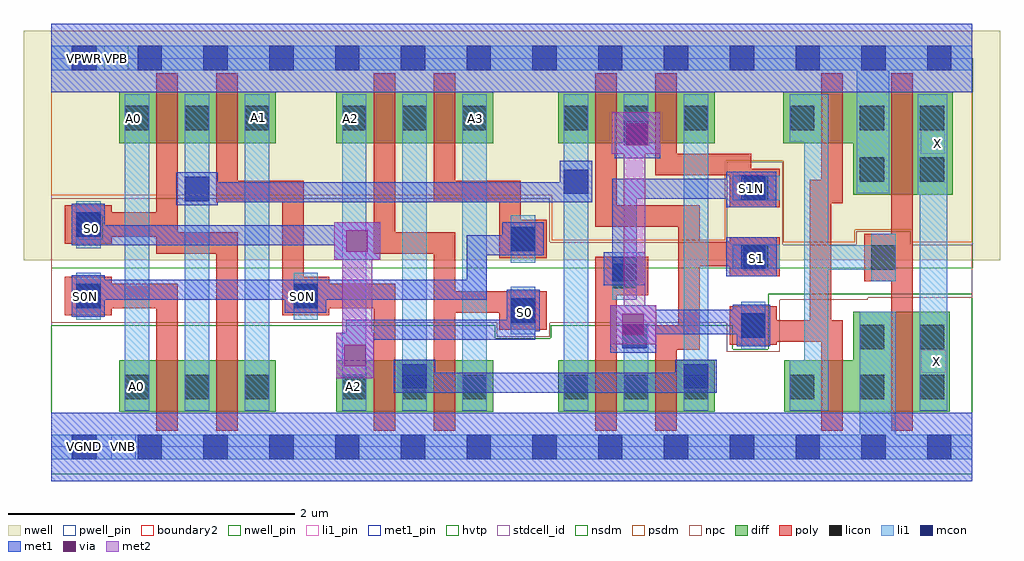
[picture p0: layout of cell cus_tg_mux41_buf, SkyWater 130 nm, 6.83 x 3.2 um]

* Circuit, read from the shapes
.subckt cus_tg_mux41_buf A0 A1 A2 A3 S0 S0N S1 S1N VGND VNB VPB VPWR X
XM1 n1 S0N A0 VNB sky130_fd_pr__nfet_01v8 w=0.36 l=0.15
XM2 A1 S0 n1 VNB sky130_fd_pr__nfet_01v8 w=0.36 l=0.15
XM3 n2 S0N A2 VNB sky130_fd_pr__nfet_01v8 w=0.36 l=0.15
XM4 A3 S0 n2 VNB sky130_fd_pr__nfet_01v8 w=0.36 l=0.15
XM5 n3 S1N n1 VNB sky130_fd_pr__nfet_01v8 w=0.36 l=0.15
XM6 n2 S1 n3 VNB sky130_fd_pr__nfet_01v8 w=0.36 l=0.15
XM7 VGND n3 n4 VNB sky130_fd_pr__nfet_01v8 w=0.36 l=0.15
XM8 X n4 VGND VNB sky130_fd_pr__nfet_01v8 w=0.7 l=0.15
XM9 n1 S0 A0 VPB sky130_fd_pr__pfet_01v8_hvt w=0.36 l=0.15
XM10 A1 S0N n1 VPB sky130_fd_pr__pfet_01v8_hvt w=0.36 l=0.15
XM11 n2 S0 A2 VPB sky130_fd_pr__pfet_01v8_hvt w=0.36 l=0.15
XM12 A3 S0N n2 VPB sky130_fd_pr__pfet_01v8_hvt w=0.36 l=0.15
XM13 n3 S1 n1 VPB sky130_fd_pr__pfet_01v8_hvt w=0.36 l=0.15
XM14 n2 S1N n3 VPB sky130_fd_pr__pfet_01v8_hvt w=0.36 l=0.15
XM15 VPWR n3 n4 VPB sky130_fd_pr__pfet_01v8_hvt w=0.36 l=0.15
XM16 X n4 VPWR VPB sky130_fd_pr__pfet_01v8_hvt w=0.72 l=0.15
.ends

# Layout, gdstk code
import gdstk
lib = gdstk.Library(unit=1e-6, precision=1e-09)
def R(c, l, rs):  # rectangles x0, y0, x1, y1
    for r in rs: c.add(gdstk.rectangle(r[:2], r[2:], *l))
def A(c, l, x, y, w, h, nx, ny, dx, dy):  # array of equal rectangles
    R(c, l, [(x+i*dx, y+j*dy, x+i*dx+w, y+j*dy+h) for i in range(nx) for j in range(ny)])
def P(c, l, *ps):  # polygons
    for p in ps: c.add(gdstk.Polygon(p, *l))
nwell_pin = (64, 16)
nwell = (64, 20)
diff = (65, 20)
poly = (66, 20)
licon = (66, 44)
li1_pin = (67, 16)
li1 = (67, 20)
mcon = (67, 44)
met1_pin = (68, 16)
met1 = (68, 20)
via = (68, 44)
met2 = (69, 20)
hvtp = (78, 44)
stdcell_id = (81, 4)
nsdm = (93, 44)
psdm = (94, 20)
npc = (95, 20)
pwell_pin = (122, 16)
boundary2 = (236, 0)

cus_tg_mux41_buf = lib.new_cell('cus_tg_mux41_buf')
R(cus_tg_mux41_buf, nwell_pin, [(0.37,2.635,0.54,2.805)])
R(cus_tg_mux41_buf, nwell, [(-0.19,1.305,6.635,2.91)])
R(cus_tg_mux41_buf, diff, [(0.475,0.245,1.57,0.605), (1.995,0.245,3.09,0.605), (3.545,0.245,4.64,0.605), (0.475,2.125,1.57,2.485), (1.995,2.125,3.09,2.485), (3.545,2.125,4.64,2.485)])
P(cus_tg_mux41_buf, diff, [(5.61,1.765),(5.61,2.125),(5.12,2.125),(5.12,2.485),(6.305,2.485),(6.305,1.765)],
  [(5.125,0.245),(5.125,0.605),(5.61,0.605),(5.61,0.945),(6.285,0.945),(6.285,0.245)])
P(cus_tg_mux41_buf, poly, [(2.675,0.115),(2.675,1.35),(2.255,1.35),(2.255,2.615),(2.405,2.615),(2.405,1.5),(2.825,1.5),(2.825,1.09),(3.465,1.09),(3.465,0.82),(3.135,0.82),(3.135,0.94),(2.825,0.94),(2.825,0.115)],
  [(3.135,1.32),(3.135,1.71),(2.675,1.71),(2.675,2.615),(2.825,2.615),(2.825,1.86),(3.285,1.86),(3.285,1.59),(3.465,1.59),(3.465,1.32)],
  [(4.745,1.675),(4.745,1.9),(4.225,1.9),(4.225,2.615),(4.375,2.615),(4.375,2.05),(4.895,2.05),(4.895,1.945),(5.095,1.945),(5.095,1.675)],
  [(4.225,0.115),(4.225,0.85),(4.385,0.85),(4.385,1.54),(3.805,1.54),(3.805,2.615),(3.955,2.615),(3.955,1.69),(4.535,1.69),(4.535,1.435),(4.745,1.435),(4.745,1.465),(5.095,1.465),(5.095,1.195),(4.745,1.195),(4.745,1.265),(4.535,1.265),(4.535,0.68),(4.375,0.68),(4.375,0.115)],
  [(5.385,0.115),(5.385,0.735),(5.075,0.735),(5.075,0.715),(4.745,0.715),(4.745,0.985),(5.075,0.985),(5.075,0.885),(5.305,0.885),(5.305,1.87),(5.385,1.87),(5.385,2.615),(5.535,2.615),(5.535,1.705),(5.455,1.705),(5.455,0.885),(5.535,0.885),(5.535,0.115)],
  [(5.875,0.115),(5.875,1.16),(5.685,1.16),(5.685,1.49),(5.875,1.49),(5.875,2.615),(6.025,2.615),(6.025,0.115)],
  [(3.805,0.115),(3.805,1.33),(4.175,1.33),(4.175,1.06),(3.955,1.06),(3.955,0.115)],
  [(2.255,0.115),(2.255,0.97),(1.945,0.97),(1.945,0.92),(1.615,0.92),(1.615,1.71),(1.155,1.71),(1.155,2.615),(1.305,2.615),(1.305,1.86),(1.765,1.86),(1.765,1.19),(1.945,1.19),(1.945,1.14),(2.405,1.14),(2.405,0.115)],
  [(1.155,0.115),(1.155,1.35),(0.735,1.35),(0.735,1.47),(0.425,1.47),(0.425,1.42),(0.095,1.42),(0.095,1.69),(0.425,1.69),(0.425,1.64),(0.735,1.64),(0.735,2.615),(0.885,2.615),(0.885,1.5),(1.305,1.5),(1.305,0.115)],
  [(0.735,0.115),(0.735,0.97),(0.425,0.97),(0.425,0.92),(0.095,0.92),(0.095,1.19),(0.425,1.19),(0.425,1.14),(0.885,1.14),(0.885,0.115)])
A(cus_tg_mux41_buf, licon, 0.515, 0.335, 0.17, 0.17, 3, 2, 0.42, 1.88)
A(cus_tg_mux41_buf, licon, 2.035, 0.335, 0.17, 0.17, 3, 2, 0.42, 1.88)
A(cus_tg_mux41_buf, licon, 3.585, 0.335, 0.17, 0.17, 3, 2, 0.42, 1.88)
R(cus_tg_mux41_buf, licon, [(5.165,0.335,5.335,0.505), (5.655,0.335,5.825,0.505), (6.075,0.335,6.245,0.505), (5.655,0.685,5.825,0.855), (6.075,0.685,6.245,0.855), (4.825,0.765,4.995,0.935), (3.215,0.87,3.385,1.04), (0.175,0.97,0.345,1.14), (1.695,0.97,1.865,1.14), (3.925,1.11,4.095,1.28), (5.735,1.24,5.905,1.41), (4.845,1.245,5.015,1.415), (3.215,1.37,3.385,1.54), (0.175,1.47,0.345,1.64), (4.845,1.725,5.015,1.895), (5.655,1.855,5.825,2.025), (6.075,1.855,6.245,2.025), (5.165,2.215,5.335,2.385), (5.655,2.215,5.825,2.385), (6.075,2.215,6.245,2.385)])
R(cus_tg_mux41_buf, li1_pin, [(0.515,0.335,0.685,0.505), (2.035,0.335,2.205,0.505), (6.085,0.52,6.255,0.68), (6.08,2.05,6.25,2.21), (2.875,2.21,3.045,2.38), (0.515,2.215,0.685,2.39), (1.355,2.215,1.525,2.385), (2.035,2.215,2.205,2.385)])
A(cus_tg_mux41_buf, li1, 0.515, 0.255, 0.17, 2.21, 3, 1, 0.42, 0)
A(cus_tg_mux41_buf, li1, 2.035, 0.255, 0.17, 2.21, 3, 1, 0.42, 0)
R(cus_tg_mux41_buf, li1, [(3.585,0.255,3.755,2.465), (4.425,0.255,4.595,2.465), (4.825,0.685,4.995,1.015), (3.215,0.79,3.385,1.12), (0.175,0.89,0.345,1.22), (1.695,0.89,1.865,1.22), (3.925,1.03,4.095,1.36), (4.765,1.245,5.095,1.415), (3.215,1.29,3.385,1.62), (0.175,1.39,0.345,1.72), (4.765,1.725,5.095,1.895), (4.005,2.11,4.175,2.465)])
P(cus_tg_mux41_buf, li1, [(4.005,0.255),(4.005,0.69),(3.995,0.69),(3.995,0.86),(4.175,0.86),(4.175,0.255)],
  [(5.165,0.255),(5.165,0.605),(5.265,0.605),(5.265,2.135),(5.165,2.135),(5.165,2.465),(5.435,2.465),(5.435,1.41),(5.735,1.41),(5.735,1.49),(5.905,1.49),(5.905,1.16),(5.735,1.16),(5.735,1.24),(5.435,1.24),(5.435,0.255)],
  [(0,-0.085),(0,0.085),(5.655,0.085),(5.655,0.945),(5.905,0.945),(5.905,0.085),(6.44,0.085),(6.44,-0.085)],
  [(5.635,1.775),(5.635,2.635),(0,2.635),(0,2.805),(6.44,2.805),(6.44,2.635),(5.86,2.635),(5.86,1.775)],
  [(6.075,0.255),(6.075,1.765),(6.06,1.765),(6.06,2.465),(6.265,2.465),(6.265,0.255)])
A(cus_tg_mux41_buf, mcon, 0.145, -0.085, 0.17, 0.17, 14, 2, 0.46, 2.72)
A(cus_tg_mux41_buf, mcon, 4.825, 0.765, 0.17, 0.17, 1, 3, 0, 0.48)
R(cus_tg_mux41_buf, mcon, [(2.455,0.41,2.625,0.58), (4.425,0.41,4.595,0.58), (3.995,0.69,4.165,0.86), (3.215,0.87,3.385,1.04), (0.175,0.97,0.345,1.14), (1.695,0.97,1.865,1.14), (3.925,1.16,4.095,1.33), (3.215,1.37,3.385,1.54), (0.175,1.47,0.345,1.64), (0.935,1.72,1.105,1.89), (3.585,1.77,3.755,1.94), (4.005,2.11,4.175,2.28)])
R(cus_tg_mux41_buf, met1_pin, [(0.15,-0.085,0.32,0.085), (3.22,0.86,3.39,1.035), (0.175,0.965,0.345,1.145), (1.695,0.965,1.865,1.145), (4.84,1.235,5.01,1.41), (0.19,1.45,0.36,1.625), (4.81,1.73,4.98,1.905), (0.15,2.635,0.32,2.805)])
R(cus_tg_mux41_buf, met1, [(0,-0.24,6.44,0.24), (4.72,1.195,5.075,1.465), (3.94,2.02,4.26,2.34), (0,2.48,6.44,2.96)])
P(cus_tg_mux41_buf, met1, [(3.91,0.66),(3.91,0.99),(4.23,0.99),(4.23,0.96),(4.765,0.96),(4.765,0.995),(5.03,0.995),(5.03,0.705),(4.795,0.705),(4.795,0.79),(4.23,0.79),(4.23,0.66)],
  [(2.395,0.38),(2.395,0.61),(2.685,0.61),(2.685,0.52),(4.365,0.52),(4.365,0.61),(4.655,0.61),(4.655,0.38)],
  [(1.98,1.31),(1.98,1.41),(0.145,1.41),(0.145,1.7),(0.375,1.7),(0.375,1.55),(1.98,1.55),(1.98,1.57),(2.3,1.57),(2.3,1.31)],
  [(0.875,1.69),(0.875,1.92),(1.165,1.92),(1.165,1.85),(3.555,1.85),(3.555,2),(3.785,2),(3.785,1.71),(1.165,1.71),(1.165,1.69)],
  [(0.145,0.91),(0.145,1.2),(0.375,1.2),(0.375,1.17),(2.905,1.17),(2.905,1.48),(3.155,1.48),(3.155,1.57),(3.445,1.57),(3.445,1.34),(3.045,1.34),(3.045,1.03),(1.925,1.03),(1.925,0.94),(1.635,0.94),(1.635,1.03),(0.375,1.03),(0.375,0.91)],
  [(1.995,0.48),(1.995,0.8),(2.065,0.8),(2.065,0.89),(3.185,0.89),(3.185,1.1),(3.415,1.1),(3.415,0.81),(3.385,0.81),(3.385,0.75),(2.255,0.75),(2.255,0.48)],
  [(3.865,1.13),(3.865,1.36),(3.925,1.36),(3.925,1.875),(4.72,1.875),(4.72,1.925),(5.07,1.925),(5.07,1.675),(4.72,1.675),(4.72,1.735),(4.095,1.735),(4.095,1.36),(4.155,1.36),(4.155,1.13)])
R(cus_tg_mux41_buf, via, [(2.05,0.565,2.2,0.715), (3.995,0.78,4.145,0.93), (2.065,1.365,2.215,1.515), (4.025,2.11,4.175,2.26)])
P(cus_tg_mux41_buf, met2, [(3.91,0.72),(3.91,0.99),(4.005,0.99),(4.005,2.05),(3.92,2.05),(3.92,2.34),(4.26,2.34),(4.26,2.05),(4.155,2.05),(4.155,0.99),(4.23,0.99),(4.23,0.72)],
  [(1.995,0.48),(1.995,0.8),(2.035,0.8),(2.035,1.31),(1.98,1.31),(1.98,1.57),(2.3,1.57),(2.3,1.31),(2.245,1.31),(2.245,0.8),(2.255,0.8),(2.255,0.48)])
R(cus_tg_mux41_buf, hvtp, [(0,1.25,6.445,2.72)])
R(cus_tg_mux41_buf, stdcell_id, [(0,0,6.44,2.72)])
P(cus_tg_mux41_buf, nsdm, [(0,-0.19),(0,0.85),(3.105,0.85),(3.105,0.76),(3.495,0.76),(3.495,0.85),(4.765,0.85),(4.765,0.685),(5.015,0.685),(5.015,1.07),(6.44,1.07),(6.44,-0.19)])
P(cus_tg_mux41_buf, psdm, [(5.12,1.43),(5.12,2),(4.715,2),(4.715,1.445),(3.5,1.445),(3.5,1.76),(0,1.76),(0,2.91),(6.44,2.91),(6.44,1.43),(6.02,1.43),(6.02,1.52),(5.62,1.52),(5.62,1.43)])
P(cus_tg_mux41_buf, npc, [(4.725,0.665),(4.725,0.87),(3.485,0.87),(3.485,0.77),(3.115,0.77),(3.115,0.87),(0,0.87),(0,1.74),(3.485,1.74),(3.485,1.43),(4.725,1.43),(4.725,1.995),(5.115,1.995),(5.115,1.415),(5.63,1.415),(5.63,1.51),(6.01,1.51),(6.01,1.415),(6.44,1.415),(6.44,1.045),(5.71,1.045),(5.71,1.03),(5.095,1.03),(5.095,0.665)])
R(cus_tg_mux41_buf, pwell_pin, [(0.42,-0.085,0.59,0.085)])
R(cus_tg_mux41_buf, boundary2, [(0,0,6.44,2.72)])
cus_tg_mux41_buf.add(gdstk.Label('S0', (3.31,0.94), layer=68, texttype=5))
cus_tg_mux41_buf.add(gdstk.Label('S1N', (4.9,1.81), layer=68, texttype=5))
cus_tg_mux41_buf.add(gdstk.Label('S1', (4.93,1.315), layer=68, texttype=5))
cus_tg_mux41_buf.add(gdstk.Label('S0', (0.28,1.53), layer=68, texttype=5))
cus_tg_mux41_buf.add(gdstk.Label('S0N', (0.24,1.055), layer=68, texttype=5))
cus_tg_mux41_buf.add(gdstk.Label('S0N', (1.76,1.055), layer=68, texttype=5))
cus_tg_mux41_buf.add(gdstk.Label('VGND', (0.235,0), layer=68, texttype=5))
cus_tg_mux41_buf.add(gdstk.Label('VPWR', (0.235,2.72), layer=68, texttype=5))
cus_tg_mux41_buf.add(gdstk.Label('VPB', (0.455,2.72), layer=64, texttype=5))
cus_tg_mux41_buf.add(gdstk.Label('VNB', (0.505,0), layer=64, texttype=59))
cus_tg_mux41_buf.add(gdstk.Label('cus_tg__mux41_buf', (0,0), layer=83, texttype=44))
cus_tg_mux41_buf.add(gdstk.Label('A2', (2.115,0.42), layer=67, texttype=5))
cus_tg_mux41_buf.add(gdstk.Label('A2', (2.095,2.3), layer=67, texttype=5))
cus_tg_mux41_buf.add(gdstk.Label('A1', (1.45,2.305), layer=67, texttype=5))
cus_tg_mux41_buf.add(gdstk.Label('X', (6.2,2.125), layer=67, texttype=5))
cus_tg_mux41_buf.add(gdstk.Label('X', (6.19,0.6), layer=67, texttype=5))
cus_tg_mux41_buf.add(gdstk.Label('A3', (2.97,2.3), layer=67, texttype=5))
cus_tg_mux41_buf.add(gdstk.Label('A0', (0.575,2.3), layer=67, texttype=5))
cus_tg_mux41_buf.add(gdstk.Label('A0', (0.595,0.42), layer=67, texttype=5))

lib.write_gds('cus_tg_mux41_buf.gds')
